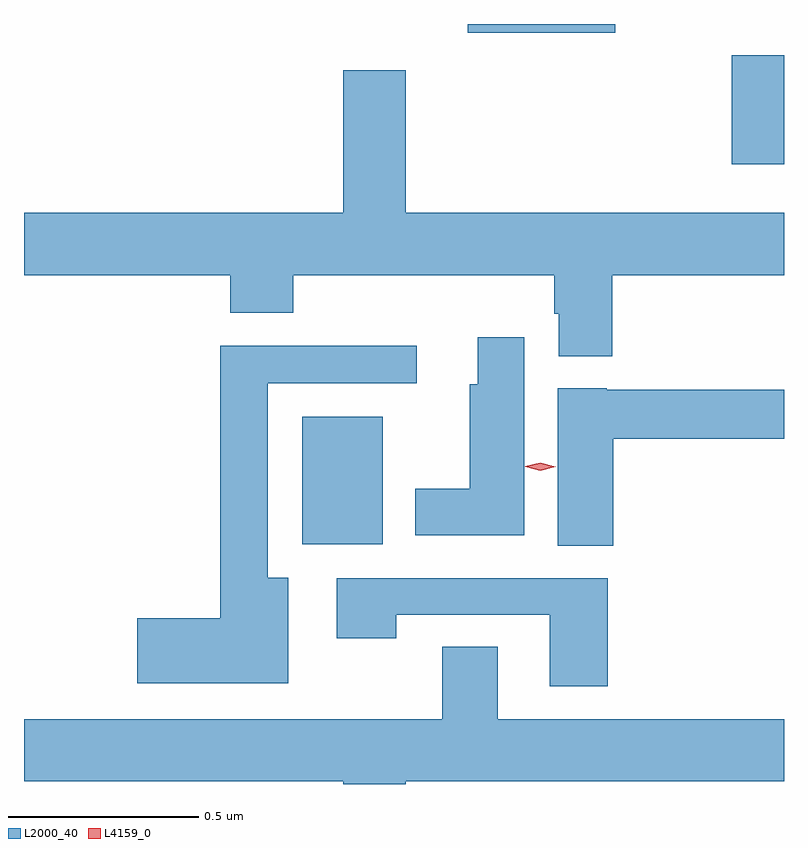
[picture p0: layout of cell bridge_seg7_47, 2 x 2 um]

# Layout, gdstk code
import gdstk
lib = gdstk.Library(unit=1e-6, precision=1e-09)
def R(c, l, rs):  # rectangles x0, y0, x1, y1
    for r in rs: c.add(gdstk.rectangle(r[:2], r[2:], *l))
def P(c, l, *ps):  # polygons
    for p in ps: c.add(gdstk.Polygon(p, *l))
L2000_40 = (2000, 40)
L4159_0 = (4159, 0)

bridge_seg7_47 = lib.new_cell('bridge_seg7_47')
R(bridge_seg7_47, L2000_40, [(956.108,1035.872,956.32,1036.207), (957.239,1036.872,957.376,1037.159), (956.544,1037.218,956.932,1037.241)])
P(bridge_seg7_47, L2000_40, [(956.924,1036.58),(957.376,1036.58),(957.376,1036.744),(956.38,1036.744),(956.38,1037.119),(956.216,1037.119),(956.216,1036.744),(955.376,1036.744),(955.376,1036.58),(955.919,1036.58),(955.919,1036.481),(956.084,1036.481),(956.084,1036.58),(956.771,1036.58),(956.771,1036.479),(956.783,1036.479),(956.783,1036.367),(956.924,1036.367)],
  [(956.692,1036.417),(956.57,1036.417),(956.57,1036.293),(956.549,1036.293),(956.549,1036.018),(956.405,1036.018),(956.405,1035.896),(956.692,1035.896)],
  [(956.071,1035.784),(956.017,1035.784),(956.017,1036.296),(956.41,1036.296),(956.41,1036.394),(955.892,1036.394),(955.892,1035.677),(955.674,1035.677),(955.674,1035.506),(956.071,1035.506)],
  [(956.927,1036.15),(957.376,1036.15),(957.376,1036.279),(956.91,1036.279),(956.91,1036.282),(956.78,1036.282),(956.78,1035.868),(956.927,1035.868)],
  [(956.912,1035.783),(956.199,1035.783),(956.199,1035.624),(956.355,1035.624),(956.355,1035.687),(956.759,1035.687),(956.759,1035.498),(956.912,1035.498)],
  [(956.38,1035.248),(957.376,1035.248),(957.376,1035.412),(956.623,1035.412),(956.623,1035.602),(956.476,1035.602),(956.476,1035.412),(955.376,1035.412),(955.376,1035.248),(956.216,1035.248),(956.216,1035.241),(956.38,1035.241)])
P(bridge_seg7_47, L4159_0, [(956.735,1036.066),(956.695,1036.076),(956.695,1036.076),(956.695,1036.077),(956.735,1036.086),(956.775,1036.076),(956.775,1036.076),(956.775,1036.076)])

lib.write_gds('bridge_seg7_47.gds')
